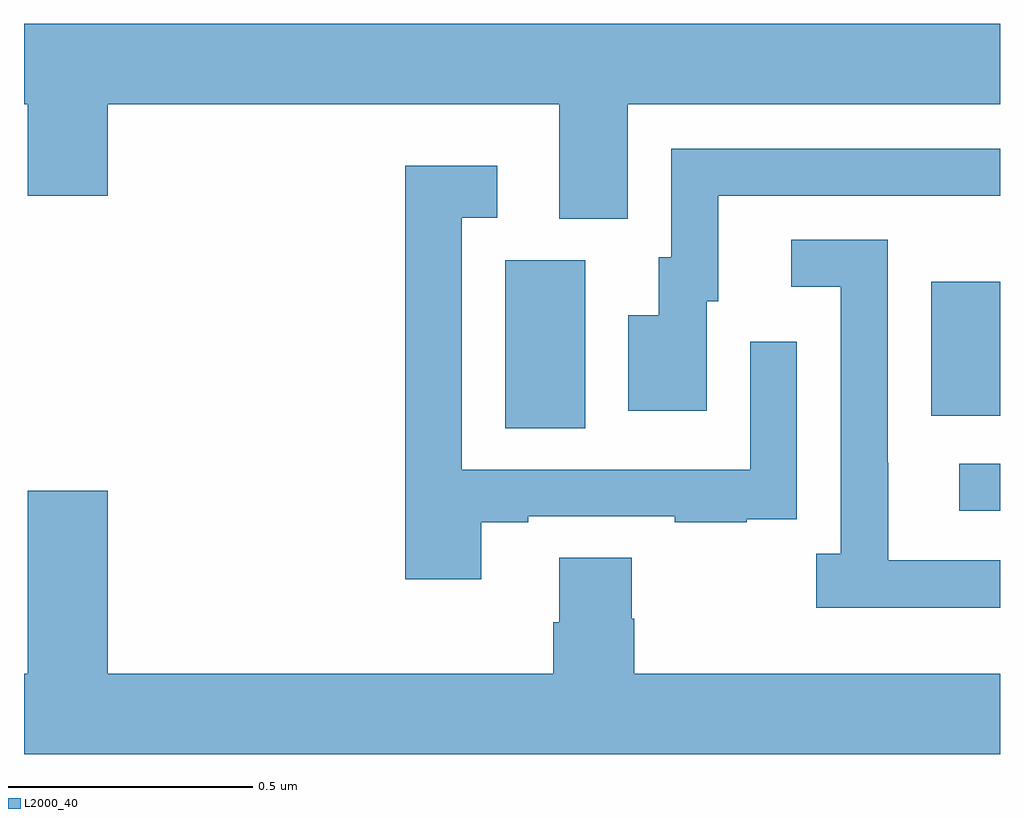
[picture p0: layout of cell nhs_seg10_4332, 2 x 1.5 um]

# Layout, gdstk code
import gdstk
lib = gdstk.Library(unit=1e-6, precision=1e-09)
def R(c, l, rs):  # rectangles x0, y0, x1, y1
    for r in rs: c.add(gdstk.rectangle(r[:2], r[2:], *l))
def P(c, l, *ps):  # polygons
    for p in ps: c.add(gdstk.Polygon(p, *l))
L2000_40 = (2000, 40)

nhs_seg10_4332 = lib.new_cell('nhs_seg10_4332')
R(nhs_seg10_4332, L2000_40, [(166.917,1250.199,167,1250.295), (165.986,1250.368,166.15,1250.712), (166.859,1250.393,167,1250.668)])
P(nhs_seg10_4332, L2000_40, [(166.237,1251.032),(167,1251.032),(167,1251.196),(165,1251.196),(165,1251.032),(165.008,1251.032),(165.008,1250.844),(165.172,1250.844),(165.172,1251.032),(166.097,1251.032),(166.097,1250.797),(166.237,1250.797)],
  [(166.399,1250.628),(166.423,1250.628),(166.423,1250.844),(167,1250.844),(167,1250.94),(166.326,1250.94),(166.326,1250.718),(166.301,1250.718),(166.301,1250.599),(166.238,1250.599),(166.238,1250.403),(166.399,1250.403)],
  [(165.937,1250.175),(166.033,1250.175),(166.033,1250.187),(166.333,1250.187),(166.333,1250.175),(166.481,1250.175),(166.481,1250.181),(166.583,1250.181),(166.583,1250.29),(166.584,1250.29),(166.584,1250.545),(166.488,1250.545),(166.488,1250.283),(165.897,1250.283),(165.897,1250.799),(165.97,1250.799),(165.97,1250.905),(165.781,1250.905),(165.781,1250.058),(165.937,1250.058)],
  [(167,1250.097),(166.771,1250.097),(166.771,1250.297),(166.77,1250.297),(166.77,1250.754),(166.572,1250.754),(166.572,1250.658),(166.674,1250.658),(166.674,1250.11),(166.623,1250.11),(166.623,1250),(167,1250)],
  [(167,1249.864),(166.25,1249.864),(166.25,1249.977),(166.245,1249.977),(166.245,1250.102),(166.097,1250.102),(166.097,1249.97),(166.085,1249.97),(166.085,1249.864),(165.172,1249.864),(165.172,1250.239),(165.008,1250.239),(165.008,1249.864),(165,1249.864),(165,1249.7),(167,1249.7)])

lib.write_gds('nhs_seg10_4332.gds')
